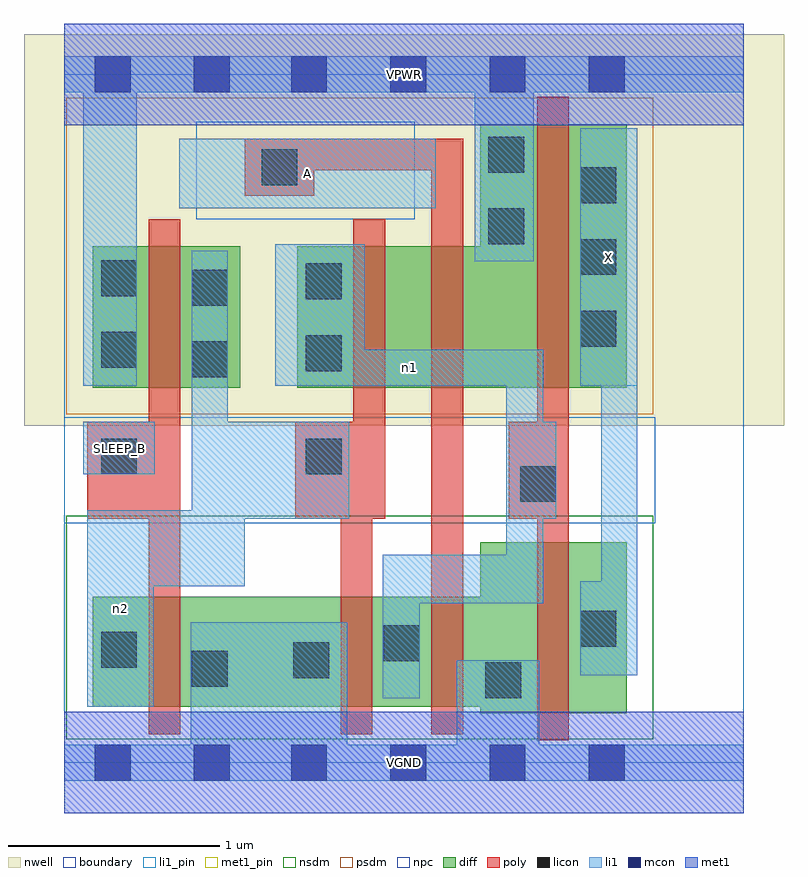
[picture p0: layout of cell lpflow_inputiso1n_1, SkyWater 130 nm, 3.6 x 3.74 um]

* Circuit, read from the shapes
.subckt lpflow_inputiso1n_1 A SLEEP_B VGND VPWR X n1 n2
XM1 VGND SLEEP_B n2 VSUBS sky130_fd_pr__nfet_01v8 w=0.52 l=0.15
XM2 n1 n2 VGND VSUBS sky130_fd_pr__nfet_01v8 w=0.52 l=0.15
XM3 VGND A n1 VSUBS sky130_fd_pr__nfet_01v8 w=0.52 l=0.15
XM4 X n1 VGND VSUBS sky130_fd_pr__nfet_01v8 w=0.81 l=0.15
XM5 n2 SLEEP_B VPWR n3 sky130_fd_pr__pfet_01v8 w=0.67 l=0.15
XM6 n4 n2 n1 n3 sky130_fd_pr__pfet_01v8 w=0.67 l=0.15
XM7 VPWR A n4 n3 sky130_fd_pr__pfet_01v8 w=0.67 l=0.15
XM8 X n1 VPWR n3 sky130_fd_pr__pfet_01v8 w=1.25 l=0.15
.ends

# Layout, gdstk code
import gdstk
lib = gdstk.Library(unit=1e-6, precision=1e-09)
def R(c, l, rs):  # rectangles x0, y0, x1, y1
    for r in rs: c.add(gdstk.rectangle(r[:2], r[2:], *l))
def A(c, l, x, y, w, h, nx, ny, dx, dy):  # array of equal rectangles
    R(c, l, [(x+i*dx, y+j*dy, x+i*dx+w, y+j*dy+h) for i in range(nx) for j in range(ny)])
nwell = (64, 20)
diff = (65, 20)
poly = (66, 20)
licon = (66, 44)
li1_pin = (67, 16)
li1 = (67, 20)
mcon = (67, 44)
met1_pin = (68, 16)
met1 = (68, 20)
nsdm = (93, 44)
psdm = (94, 20)
npc = (95, 20)
boundary = (235, 4)

lpflow_inputiso1n_1 = lib.new_cell('lpflow_inputiso1n_1')
R(lpflow_inputiso1n_1, nwell, [(-0.19,1.595,3.41,3.45), (0,1.595,3.22,3.45)])
R(lpflow_inputiso1n_1, diff, [(1.97,0.235,2.665,1.045), (0.135,0.265,2.665,0.785), (0.135,1.775,0.835,2.445), (1.105,1.775,2.665,2.445), (1.97,1.775,2.665,3.025)])
R(lpflow_inputiso1n_1, poly, [(2.24,0.105,2.39,3.155), (0.4,0.135,0.55,2.575), (1.31,0.135,1.46,1.615), (1.74,0.135,1.89,2.955), (0.11,1.155,0.55,1.615), (1.095,1.155,1.52,1.615), (1.37,1.155,1.52,2.575), (2.105,1.155,2.39,1.615), (0.855,2.685,1.185,2.955), (0.855,2.805,1.89,2.955)])
A(lpflow_inputiso1n_1, licon, 2.445, 1.97, 0.17, 0.17, 1, 3, 0, 0.34)
R(lpflow_inputiso1n_1, licon, [(1.995,0.305,2.165,0.475), (0.605,0.36,0.775,0.53), (1.085,0.4,1.255,0.57), (0.175,0.45,0.345,0.62), (1.515,0.48,1.685,0.65), (2.445,0.55,2.615,0.72), (2.16,1.235,2.33,1.405), (0.175,1.365,0.345,1.535), (1.145,1.365,1.315,1.535), (0.605,1.825,0.775,1.995), (1.145,1.855,1.315,2.025), (0.175,1.87,0.345,2.04), (0.605,2.165,0.775,2.335), (1.145,2.195,1.315,2.365), (0.175,2.21,0.345,2.38), (2.01,2.455,2.18,2.625), (0.935,2.735,1.105,2.905), (2.01,2.795,2.18,2.965)])
R(lpflow_inputiso1n_1, li1_pin, [(0.09,1.365,0.43,1.615), (2.445,1.785,2.715,3.005), (0.545,2.625,1.76,2.955)])
R(lpflow_inputiso1n_1, li1, [(0,-0.085,3.22,0.085), (0.6,-0.085,1.34,0.665), (1.86,-0.085,2.25,0.485), (0.11,0.265,0.425,1.195), (1.51,0.305,1.685,0.985), (2.445,0.415,2.715,0.86), (2.545,0.415,2.715,3.005), (1.51,0.755,2.27,0.985), (2.095,0.755,2.27,1.955), (0.11,0.835,0.855,1.195), (0.605,0.835,0.775,2.425), (0.605,0.835,0.855,1.615), (0.605,1.155,1.35,1.615), (2.095,1.155,2.33,1.615), (0.09,1.365,0.43,1.615), (0.09,1.785,0.345,3.345), (1,1.785,2.27,1.955), (1,1.785,1.425,2.455), (2.445,1.785,2.715,3.005), (1.945,2.375,2.225,3.345), (0.545,2.625,1.76,2.955), (0,3.175,3.22,3.345)])
A(lpflow_inputiso1n_1, mcon, 1.075, -0.085, 0.17, 0.17, 4, 2, 0.47, 3.26)
R(lpflow_inputiso1n_1, mcon, [(0.145,-0.085,0.315,0.085), (0.615,-0.085,0.785,0.085), (0.145,3.175,0.315,3.345), (0.615,3.175,0.785,3.345)])
R(lpflow_inputiso1n_1, met1_pin, [(0,-0.24,3.22,0.24), (0,3.02,3.22,3.5)])
R(lpflow_inputiso1n_1, met1, [(0,-0.24,3.22,0.24), (0,3.02,3.22,3.5)])
R(lpflow_inputiso1n_1, nsdm, [(0.01,0.11,2.79,1.17)])
R(lpflow_inputiso1n_1, psdm, [(0.01,1.65,2.79,3.15)])
R(lpflow_inputiso1n_1, npc, [(0,1.135,2.8,1.635), (0.625,2.575,1.66,3.035)])
R(lpflow_inputiso1n_1, boundary, [(0,0,3.22,3.26)])
lpflow_inputiso1n_1.add(gdstk.Label('A', (1.152,2.79), layer=67, texttype=5))
lpflow_inputiso1n_1.add(gdstk.Label('SLEEP_B', (0.26,1.49), layer=67, texttype=5))
lpflow_inputiso1n_1.add(gdstk.Label('X', (2.58,2.395), layer=67, texttype=5))
lpflow_inputiso1n_1.add(gdstk.Label('n2', (0.267,0.73), layer=67, texttype=5))
lpflow_inputiso1n_1.add(gdstk.Label('n1', (1.635,1.87), layer=67, texttype=5))
lpflow_inputiso1n_1.add(gdstk.Label('VPWR', (1.61,3.26), layer=68, texttype=5))
lpflow_inputiso1n_1.add(gdstk.Label('VGND', (1.61,0), layer=68, texttype=5))
lpflow_inputiso1n_1.add(gdstk.Label('A', (1.152,2.79), layer=67, texttype=16))
lpflow_inputiso1n_1.add(gdstk.Label('SLEEP_B', (0.26,1.49), layer=67, texttype=16))
lpflow_inputiso1n_1.add(gdstk.Label('X', (2.58,2.395), layer=67, texttype=16))
lpflow_inputiso1n_1.add(gdstk.Label('VPWR', (1.61,3.26), layer=68, texttype=16))
lpflow_inputiso1n_1.add(gdstk.Label('VGND', (1.61,0), layer=68, texttype=16))

lib.write_gds('lpflow_inputiso1n_1.gds')
